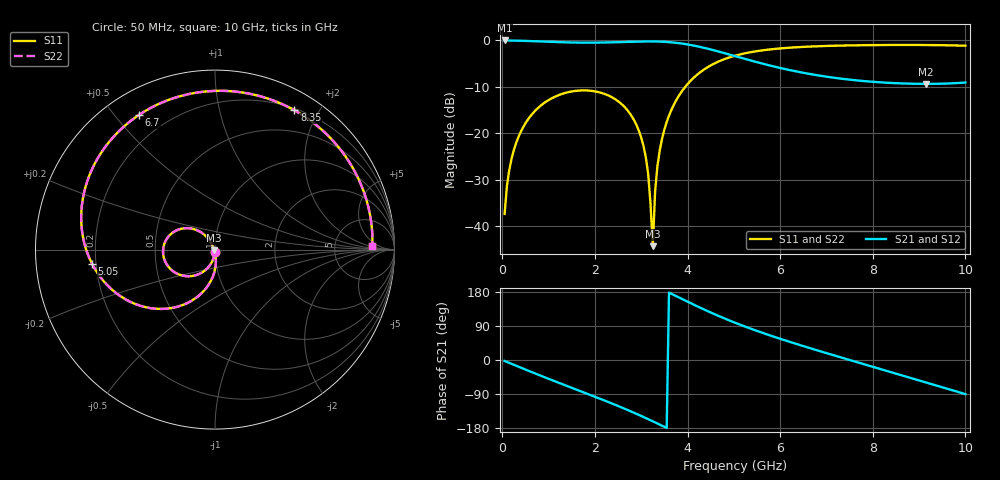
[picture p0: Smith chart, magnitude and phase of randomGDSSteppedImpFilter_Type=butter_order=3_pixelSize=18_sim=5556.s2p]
! freq	dB(S11)	phase(S11)	dB(S12)	phase(S12)
!  dB(S21)	phase(S21)	dB(S22)	phase(S22)
!S-par simulation data
#  GHz  S  DB  R 50
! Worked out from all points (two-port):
!   200 points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, 50 MHz to 10 GHz, reference 50 ohm
!   highest |S21| = -0.01 dB at 50 MHz (marker M1); lowest = -9.4 dB at 9.15 GHz (marker M2)
!   |S21| within 3 dB of the highest: start of sweep to 4.894 GHz
!   lowest |S11| = -44.3 dB at 3.25 GHz (marker M3), VSWR 1.01, Z = 49.6 - j0.412 ohm
!   |S11| at or under -10 dB: start of sweep to 3.95 GHz
!   |S22| runs from -45.0 to -1.0 dB; largest |S21 - S12| = 0
!   S11 on the Smith chart (normalised r, x): 50 MHz: 1.00, -0.03; 5.05 GHz: 0.18, -0.05; 6.7 GHz: 0.10, +0.58; 8.35 GHz: 0.22, +1.70; 10 GHz: 15, +3
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0.05  -37.35 -92.3  -0.01 -2.6  -0.01 -2.6  -37.35 -92.3
0.1  -31.36 -95.6  -0.01 -5.1  -0.01 -5.1  -31.36 -95.6
0.2  -25.47 -100.7  -0.03 -10.2  -0.03 -10.2  -25.47 -100.7
0.5  -17.83 -115.6  -0.10 -25.2  -0.10 -25.2  -17.83 -115.7
1.15  -12.05 -147.5  -0.34 -56.9  -0.34 -56.9  -12.05 -147.5
1.75  -10.75 -175.7  -0.48 -85.1  -0.48 -85.1  -10.75 -175.7
2.45  -12.73 151.0  -0.38 -118.8  -0.38 -118.8  -12.73 150.9
2.9  -18.26 128.8  -0.24 -142.2  -0.24 -142.2  -18.26 128.5
3.15  -28.75 120.4  -0.21 -156.0  -0.21 -156.0  -28.77 119.5
3.25  -44.28 -137.1  -0.22 -161.7  -0.22 -161.7  -45.03 -135.0
3.3  -32.49 -87.8  -0.22 -164.6  -0.22 -164.6  -32.54 -86.3
3.4  -23.64 -85.8  -0.25 -170.4  -0.25 -170.4  -23.65 -85.3
3.6  -16.19 -95.1  -0.37 177.7  -0.37 177.7  -16.19 -94.9
3.95  -10.00 -115.0  -0.78 156.9  -0.78 156.9  -10.00 -114.9
4.45  -5.66 -143.1  -1.82 128.1  -1.82 128.1  -5.66 -143.1
5.05  -3.22 -173.5  -3.45 97.2  -3.45 97.2  -3.22 -173.5
5.8  -1.91 153.9  -5.45 64.1  -5.45 64.1  -1.91 153.9
6.7  -1.29 119.4  -7.33 29.2  -7.33 29.2  -1.29 119.4
7.5  -1.07 90.5  -8.44 0.0  -8.44 0.0  -1.07 90.5
8.35  -0.98 60.3  -9.13 -30.4  -9.13 -30.4  -0.98 60.2
9.15  -0.99 31.9  -9.35 -59.0  -9.35 -59.0  -0.99 31.8
10  -1.14 1.5  -9.06 -90.0  -9.06 -90.0  -1.14 1.4
